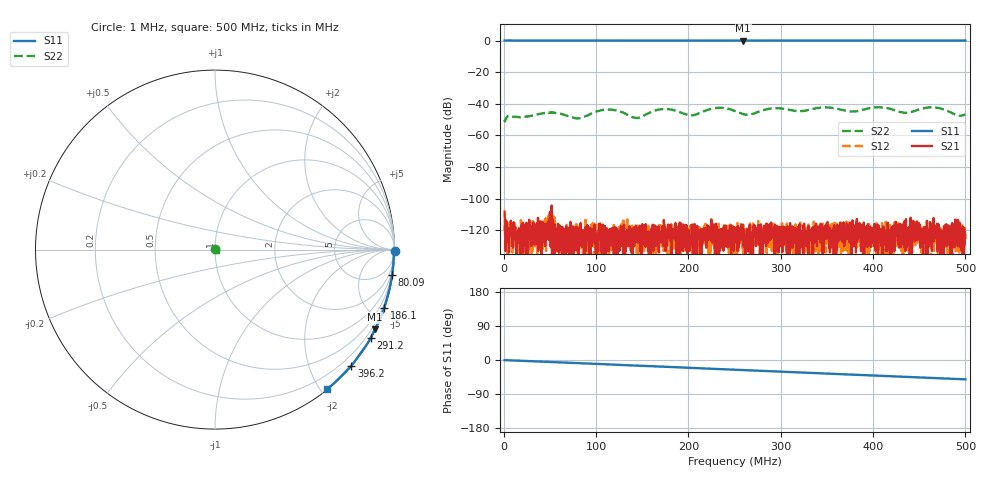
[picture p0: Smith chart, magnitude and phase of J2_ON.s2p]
! MS46122B
! 1746301/73750021
! 8/7/2023 2:36:34 PM
! C:\USERS\SPEGWAL\DOWNLOADS\SAURABH\REACH\NODES\FRONT END\MEASUREMENTS\MEASURED S-PARAMETER_07-08-2023\MS-3\P2_J3\J2_ON.S2P
! CHANNEL.1
! TR.MEASUREMENT
! CORRECTED.DATA
# GHZ S RI R 50.0
! FREQ.GHZ  S11RE  S11IM  S21RE  S21IM  S12RE  S12IM  S22RE  S22IM
!; PortSelection: Port_12
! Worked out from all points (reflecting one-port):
!   2001 points, 1 MHz to 500 MHz, reference 50 ohm
!   lowest |S11| = 0.0 dB at 259.2 MHz (marker M1), VSWR 388.42, Z = 2.45 - j212 ohm
!   phase of S11 starts at -0 deg and turns -51 deg over the sweep
!   S11 on the Smith chart (normalised r, x): 1 MHz: open; 80.09 MHz: 0, -14; 186.1 MHz: 0.06, -5.99; 291.2 MHz: 0.02, -3.78; 396.2 MHz: 0.01, -2.72; 500 MHz: 0.01, -2.09
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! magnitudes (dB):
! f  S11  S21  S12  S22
! 1 MHz  0.0  -108.2  -120.1  -50.2
! 5.99 MHz  0.0  -122.1  -121.9  -47.6
! 51.4 MHz  0.0  -121.9  -108.7  -45.7
! 80.09 MHz  0.0  -118.9  -121.4  -49.3
! 84.33 MHz  0.0  -130.0  -120.9  -48.8
! 113.5 MHz  0.0  -123.1  -131.0  -43.6
! 145.2 MHz  0.0  -124.3  -116.9  -49.0
! 167.4 MHz  0.0  -121.4  -133.0  -43.7
! 186.1 MHz  0.0  -115.4  -119.0  -44.4
! 203.1 MHz  0.0  -124.4  -124.7  -47.3
! 229.8 MHz  0.0  -125.4  -120.5  -42.7
! 250.5 MHz  0.0  -127.7  -123.1  -44.5
! 259.2 MHz  0.0  -116.3  -140.0  -46.5
! 291.2 MHz  0.0  -124.4  -118.4  -42.8
! 333.8 MHz  0.0  -118.4  -125.4  -43.3
! 378 MHz  0.0  -113.6  -119.2  -44.9
! 396.2 MHz  0.0  -124.0  -133.0  -42.7
! 416.9 MHz  0.0  -130.5  -140.0  -43.0
! 435.9 MHz  0.0  -125.4  -126.0  -45.7
! 466.6 MHz  0.0  -117.7  -128.0  -42.3
! 491.8 MHz  0.0  -130.0  -115.3  -47.4
! 500 MHz  0.0  -124.7  -121.9  -46.6
